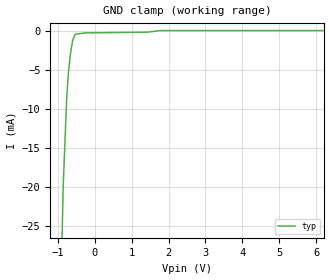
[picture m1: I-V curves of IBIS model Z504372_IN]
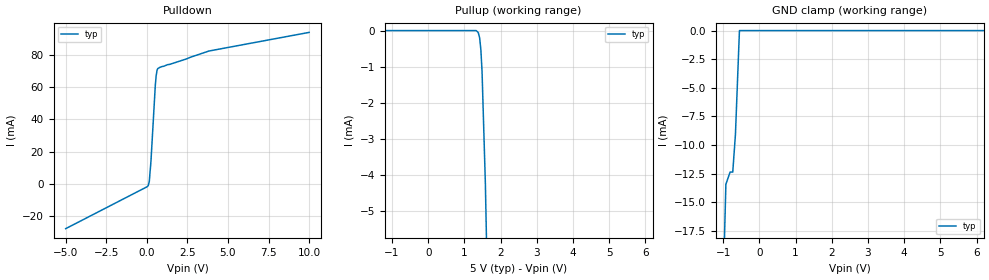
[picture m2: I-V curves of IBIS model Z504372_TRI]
| YOU ARE ONLY AUTHORIZED TO USE THIS SOFTWARE
| ACCORDING TO LICENSOR'S LICENSE RESTRICTIONS.
[IBIS Ver] 3.1
[File Name] sn54ls126aj.ibs
[File Rev] 2.0
[Source] Measured and created by ICX Technology
[Date] Friday 7/14/00 9:08:13 AM
[Copyright]
| (C) COPYRIGHT 1993-2000
| MENTOR GRAPHICS CORPORATION
| ICX STANDARD LIBRARY, ICX PROJECT MODELING,
| ICX CUSTOM MODELING, ICX VENDOR MODEL
| ALL RIGHTS RESERVED.
| THE FOLLOWING ARE TRADEMARKS OR SERVICE MARKS OF
| MENTOR GRAPHICS CORPORATION:ICX (R), ICX STANDARD
| LIBRARY(R), ICX PROJECT MODELING(R), ICX CUSTOM
| MODELING(R), qualityIBIS(TM), MODELVIEWER(TM),
| AND MODELEDITOR(TM)
| ALL COPIES OF SOFTWARE, INCLUDING BUT NOT LIMITED TO
| ANY MODIFICATIONS, ENHANCEMENTS OR DERIVATIVE WORKS,
| MUST CONTAIN ALL MENTOR GRAPHICS CORPORATION'S
| NOTICES AND LEGENDS, INCLUDING THOSE EMBEDDED IN
| SOFTWARE AND THOSE AFFIXED TO SOFTWARE MEDIUM
| AND CONTAINER, AS RECEIVED FROM MENTOR GRAPHICS
| CORPORATION.
|  ZAP Model Builder 2.7
[Component] SN54LS126AJ
[Manufacturer] OnSemiconductor
[Package]
| variable   typ   min   max
R_pkg  .21ohms NA NA
L_pkg  4.543nH NA NA
C_pkg  1.8pF NA NA
[Pin] signal_name  model_name  R_pin  L_pin C_pin
1 G Z504372_IN .22 6.757n 2.434p
2 A Z504372_IN .212 4.757n 1.941p
3 Y Z504372_TRI .204 3.257n 1.448p
4 G Z504372_IN .196 2.257n .955p
5 A Z504372_IN .204 3.257n 1.448p
6 Y Z504372_TRI .212 4.757n 1.941p
7 GND GND .22 6.757n 2.434p
8 Y Z504372_TRI .22 6.757n 2.434p
9 A Z504372_IN .212 4.757n 1.941p
10 G Z504372_IN .204 3.257n 1.448p
11 Y Z504372_TRI .196 2.257n .955p
12 A Z504372_IN .204 3.257n 1.448p
13 G Z504372_IN .212 4.757n 1.941p
14 VCC POWER .22 6.757n 2.434p
| Models and submodels in the file (2): Z504372_IN (Input), Z504372_TRI (3-state)
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| (C) COPYRIGHT 1993-2000
| MENTOR GRAPHICS CORPORATION
| ICX STANDARD LIBRARY, ICX PROJECT MODELING,
| ICX CUSTOM MODELING, ICX VENDOR MODEL
| ALL RIGHTS RESERVED.
| THE FOLLOWING ARE TRADEMARKS OR SERVICE MARKS OF
| MENTOR GRAPHICS CORPORATION:ICX (R), ICX STANDARD
| LIBRARY(R), ICX PROJECT MODELING(R), ICX CUSTOM
| MODELING(R), qualityIBIS(TM), MODELVIEWER(TM),
| AND MODELEDITOR(TM)
| ALL COPIES OF SOFTWARE, INCLUDING BUT NOT LIMITED TO
| ANY MODIFICATIONS, ENHANCEMENTS OR DERIVATIVE WORKS,
| MUST CONTAIN ALL MENTOR GRAPHICS CORPORATION'S
| NOTICES AND LEGENDS, INCLUDING THOSE EMBEDDED IN
| SOFTWARE AND THOSE AFFIXED TO SOFTWARE MEDIUM
| AND CONTAINER, AS RECEIVED FROM MENTOR GRAPHICS
| CORPORATION.
| Model Application Version 1.89 2/18/99.
[Model] Z504372_IN
Model_type Input
Vinl = 800.0mV
Vinh = 2.000V
C_comp 4.000pF NA NA
| variable typ   min   max
[Voltage Range] 5.000V NA NA
[GND Clamp Reference] 0.000V NA NA
[POWER Clamp Reference] 5.000V NA NA
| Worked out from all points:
|   GND clamp passes 1 mA (typ) near -0.57 V on its own axis
[GND Clamp]
-5V       -890.5mA   NA         NA
-848.5mV  -19.72mA   NA         NA
-757.1mV  -8.832mA   NA         NA
-712.9mV  -5.613mA   NA         NA
-654.8mV  -2.998mA   NA         NA
-595.7mV  -1.287mA   NA         NA
-527.2mV  -483.7uA   NA         NA
-263.6mV  -303.1uA   NA         NA
1.447V    -204.9uA   NA         NA
1.763V    -4.663uA   NA         NA
10V       -4.663uA   NA         NA
[POWER Clamp]
-5V       0A         NA         NA
10V       0A         NA         NA
| (C) COPYRIGHT 1993-2000
| MENTOR GRAPHICS CORPORATION
| ICX STANDARD LIBRARY, ICX PROJECT MODELING,
| ICX CUSTOM MODELING, ICX VENDOR MODEL
| ALL RIGHTS RESERVED.
| THE FOLLOWING ARE TRADEMARKS OR SERVICE MARKS OF
| MENTOR GRAPHICS CORPORATION:ICX (R), ICX STANDARD
| LIBRARY(R), ICX PROJECT MODELING(R), ICX CUSTOM
| MODELING(R), qualityIBIS(TM), MODELVIEWER(TM),
| AND MODELEDITOR(TM)
| ALL COPIES OF SOFTWARE, INCLUDING BUT NOT LIMITED TO
| ANY MODIFICATIONS, ENHANCEMENTS OR DERIVATIVE WORKS,
| MUST CONTAIN ALL MENTOR GRAPHICS CORPORATION'S
| NOTICES AND LEGENDS, INCLUDING THOSE EMBEDDED IN
| SOFTWARE AND THOSE AFFIXED TO SOFTWARE MEDIUM
| AND CONTAINER, AS RECEIVED FROM MENTOR GRAPHICS
| CORPORATION.
| Model Application Version 1.89 2/18/99.
[Model] Z504372_TRI
Model_type 3-state
Vref=588.0mV
Rref=588.5ohms
Cref=45.00pF
Vmeas=1.300V
C_comp 8.000pF NA NA
| variable typ   min   max
[Voltage Range] 5.000V NA NA
[POWER Clamp Reference] 5.000V NA NA
[Pullup Reference] 5.000V NA NA
[Pulldown Reference] 0.000V NA NA
[GND Clamp Reference] 0.000V NA NA
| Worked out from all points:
|   slope of the pulldown table from 0 to 0.75 V, typ, clamps not added: 10.2 ohm
|   GND clamp passes 1 mA (typ) near -0.57 V on its own axis
[GND Clamp]
-5V       -852.4mA   NA         NA
-1.151V   -44.66mA   NA         NA
-1.03V    -25.83mA   NA         NA
-927.7mV  -13.43mA   NA         NA
-811.7mV  -12.36mA   NA         NA
-737.6mV  -12.36mA   NA         NA
-663.5mV  -9.078mA   NA         NA
-552.9mV  0A         NA         NA
10V       0A         NA         NA
[Pulldown]
-5V       -27.64mA   NA         NA
29.75mV   -1.661mA   NA         NA
87.89mV   -958.2uA   NA         NA
151.1mV   1.507mA    NA         NA
253.9mV   13.87mA    NA         NA
523.2mV   60.98mA    NA         NA
576.1mV   66.94mA    NA         NA
629.9mV   70.29mA    NA         NA
693.1mV   71.43mA    NA         NA
3.828V    82.18mA    NA         NA
10V       93.69mA    NA         NA
[Pullup]
-5V       -54.94nA   NA         NA
1.326V    -54.94nA   NA         NA
1.384V    -54.61uA   NA         NA
1.421V    -195.3uA   NA         NA
1.456V    -527.2uA   NA         NA
1.489V    -1.146mA   NA         NA
1.581V    -4.266mA   NA         NA
10V       -433.1mA   NA         NA
[POWER Clamp]
-5V       0A         NA         NA
10V       0A         NA         NA
[Ramp]
| variable typ min max
dV/dt_r 1.958/4.848n NA NA
dV/dt_f 1.958/1.447n NA NA
R_load = 500.0Ohms
